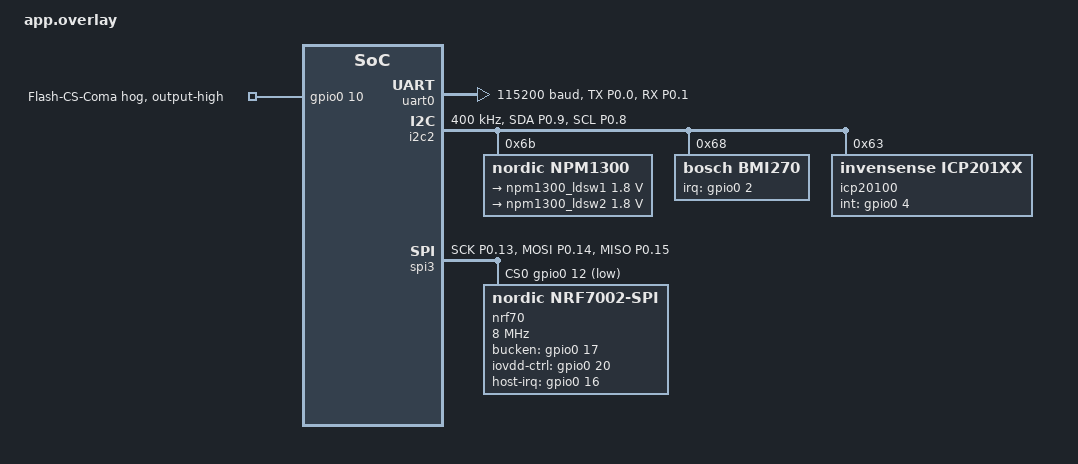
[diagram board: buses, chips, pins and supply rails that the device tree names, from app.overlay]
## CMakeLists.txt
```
# =====================================================================
# Fall inference app -- CMakeLists.txt
#
# Expected project layout (adjust paths below if yours differs):
#   CMakeLists.txt
#   prj.conf
#   app.overlay
#   pm_static.yml           (NOT needed here -- no NVS in this app)
#   edge-impulse-sdk/       (from the downloaded EI C++ library)
#   model-parameters/       (from the downloaded EI C++ library)
#   tflite-model/           (from the downloaded EI C++ library)
#   bmi270_legacy_api/      (your existing Bosch driver folder)
#   src/
#     main.c
#     bmi2_zephyr_platform.c
#     classifier.h
#     classifier.cpp
# =====================================================================
cmake_minimum_required(VERSION 3.20.0)

find_package(Zephyr REQUIRED HINTS $ENV{ZEPHYR_BASE})
project(test_model)

# --- Edge Impulse SDK ------------------------------------------------
# The SDK ships its own Zephyr integration: utils.cmake provides the
# RECURSIVE_FIND_FILE helper, and the cmake/zephyr subdirectory adds
# all SDK sources (DSP, TFLite Micro, Zephyr porting layer) to 'app'.
include(edge-impulse-sdk/cmake/utils.cmake)
add_subdirectory(edge-impulse-sdk/cmake/zephyr)

# --- Include paths ---------------------------------------------------
target_include_directories(app PRIVATE
    .
    src
    model-parameters
    tflite-model
    bmi270_legacy_api
)

# --- Sources ---------------------------------------------------------
# Generated model sources (compiled TFLite model + resolver)
RECURSIVE_FIND_FILE(MODEL_SOURCES tflite-model "*.cpp")

# Bosch BMI270 legacy driver + your I2C/delay port functions
FILE(GLOB BMI_SOURCES bmi270_legacy_api/*.c)

target_sources(app PRIVATE
    src/main.c
    src/classifier.cpp
    src/bmi2_zephyr_platform.c
    ${MODEL_SOURCES}
    ${BMI_SOURCES}
)
```

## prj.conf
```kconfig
# ==========================================================
# Fall inference app -- prj.conf
# (logger config minus modem/NVS, plus C++ for Edge Impulse)
# ==========================================================

# ==========================================================
# CONSOLE & LOGGING
# ==========================================================
CONFIG_SERIAL=y
CONFIG_CONSOLE=y
CONFIG_STDOUT_CONSOLE=y
CONFIG_LOG=y
CONFIG_PRINTK=y
CONFIG_LOG_BUFFER_SIZE=8192
CONFIG_LOG_PROCESS_THREAD_STACK_SIZE=4096
CONFIG_LOG_MODE_IMMEDIATE=y

# ==========================================================
# HARDWARE & PMIC
# ==========================================================
CONFIG_I2C=y
CONFIG_GPIO=y
CONFIG_REGULATOR=y
CONFIG_MFD_NPM13XX=y
CONFIG_REGULATOR_NPM13XX=y
CONFIG_NPM13XX_CHARGER=y

# Custom clock settings (No crystal, use RC)
CONFIG_CLOCK_CONTROL_NRF_K32SRC_XTAL=n
CONFIG_CLOCK_CONTROL_NRF_K32SRC_RC=y
CONFIG_CLOCK_CONTROL_NRF_K32SRC_500PPM=y

# ==========================================================
# EDGE IMPULSE SDK REQUIREMENTS
# The SDK is C++ (TFLite Micro + DSP). NOTE: newlib replaces
# picolibc here, so the old CONFIG_PICOLIBC_IO_FLOAT line is
# gone -- float printf comes from NEWLIB_LIBC_FLOAT_PRINTF.
# ==========================================================
CONFIG_CPP=y
CONFIG_STD_CPP17=y
CONFIG_REQUIRES_FULL_LIBCPP=y
CONFIG_NEWLIB_LIBC=y
CONFIG_NEWLIB_LIBC_FLOAT_PRINTF=y
CONFIG_CBPRINTF_FP_SUPPORT=y
CONFIG_FPU=y

# ==========================================================
# MEMORY
# DSP (FFT) and TFLite Micro need real stack + heap. The model
# arena is statically allocated in the generated sources, but
# the spectral-analysis block mallocs working buffers.
# ==========================================================
CONFIG_MAIN_STACK_SIZE=32768
CONFIG_HEAP_MEM_POOL_SIZE=32768

# Keep fatal errors as halts (readable fault dumps) while testing
CONFIG_RESET_ON_FATAL_ERROR=n
```

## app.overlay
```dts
#include <zephyr/dt-bindings/regulator/npm13xx.h>

/ {
    chosen {
        zephyr,wifi = &nordic_wlan0;
        ncs,location-wifi = &nordic_wlan0;
    };
};

&pinctrl {
    /* --- UART0 --- */
    uart0_default: uart0_default {
        group1 {
            psels = <NRF_PSEL(UART_TX, 0, 0)>,
                    <NRF_PSEL(UART_RX, 0, 1)>;
        };
    };
    uart0_sleep: uart0_sleep {
        group1 {
            psels = <NRF_PSEL(UART_TX, 0, 0)>,
                    <NRF_PSEL(UART_RX, 0, 1)>;
            low-power-enable;
        };
    };

    /* --- I2C2 --- */
    i2c2_default: i2c2_default {
        group1 {
            psels = <NRF_PSEL(TWIM_SDA, 0, 9)>,
                    <NRF_PSEL(TWIM_SCL, 0, 8)>;
        };
    };
    i2c2_sleep: i2c2_sleep {
        group1 {
            psels = <NRF_PSEL(TWIM_SDA, 0, 9)>,
                    <NRF_PSEL(TWIM_SCL, 0, 8)>;
            low-power-enable;
        };
    };

    /* --- SPI3 --- */
    spi3_default: spi3_default {
        group1 {
            psels = <NRF_PSEL(SPIM_SCK, 0, 13)>,
                    <NRF_PSEL(SPIM_MOSI, 0, 14)>,
                    <NRF_PSEL(SPIM_MISO, 0, 15)>;
        };
    };
    spi3_sleep: spi3_sleep {
        group1 {
            psels = <NRF_PSEL(SPIM_SCK, 0, 13)>,
                    <NRF_PSEL(SPIM_MOSI, 0, 14)>,
                    <NRF_PSEL(SPIM_MISO, 0, 15)>;
            low-power-enable;
        };
    };

    /* --- PWM0 --- */
    pwm0_default: pwm0_default {
        group1 {
            psels = <NRF_PSEL(PWM_OUT0, 0, 28)>,
                    <NRF_PSEL(PWM_OUT1, 0, 29)>,
                    <NRF_PSEL(PWM_OUT2, 0, 30)>,
                    <NRF_PSEL(PWM_OUT3, 0, 31)>;
        };
    };
    pwm0_sleep: pwm0_sleep {
        group1 {
            psels = <NRF_PSEL(PWM_OUT0, 0, 28)>,
                    <NRF_PSEL(PWM_OUT1, 0, 29)>,
                    <NRF_PSEL(PWM_OUT2, 0, 30)>,
                    <NRF_PSEL(PWM_OUT3, 0, 31)>;
            low-power-enable;
        };
    };
};

/* Lock Flash CS high so it never contends on the SPI bus */
&gpio0 {
    flash_coma {
        gpio-hog;
        gpios = <10 GPIO_ACTIVE_HIGH>;
        output-high;
        line-name = "Flash-CS-Coma";
    };
};

&uart0 {
    status = "okay";
    current-speed = <115200>;
    pinctrl-0 = <&uart0_default>;
    pinctrl-1 = <&uart0_sleep>;
    pinctrl-names = "default", "sleep";
};

&uart1 {
    status = "disabled";
    /delete-property/ hw-flow-control;
};

&i2c2 {
    status = "okay";
    pinctrl-0 = <&i2c2_default>;
    pinctrl-1 = <&i2c2_sleep>;
    pinctrl-names = "default", "sleep";
    clock-frequency = <I2C_BITRATE_FAST>;
    zephyr,concat-buf-size = <2048>;
    zephyr,flash-buf-max-size = <2048>;

    npm1300: pmic@6b {
        compatible = "nordic,npm1300";
        reg = <0x6b>;
        status = "okay";

        npm1300_regulators: regulators {
            compatible = "nordic,npm1300-regulator";
            status = "okay";
        };

        npm1300_charger: charger {
            compatible = "nordic,npm1300-charger";
            status = "okay";
            vbus-limit-microamp = <500000>;
            term-microvolt = <4200000>;
            current-microamp = <400000>;
            dischg-limit-microamp = <1000000>;
            thermistor-ohms = <10000>;
            thermistor-beta = <3380>;
        };
    };

    /* Bosch BMI270 IMU */
    bmi270: bmi270@68 {
        compatible = "bosch,bmi270";
        reg = <0x68>;
        irq-gpios = <&gpio0 2 GPIO_ACTIVE_HIGH>;
    };

    /* TDK Barometer */
    icp20100: icp20100@63 {
        compatible = "invensense,icp201xx";
        reg = <0x63>;
        int-gpios = <&gpio0 4 GPIO_ACTIVE_HIGH>;
    };

};


&spi3 {
    status = "okay";
    pinctrl-0 = <&spi3_default>;
    pinctrl-1 = <&spi3_sleep>;
    pinctrl-names = "default", "sleep";
    cs-gpios = <&gpio0 12 GPIO_ACTIVE_LOW>;

    nrf70: nrf7002@0 {
        /* THIS IS THE ONLY COMPATIBLE STRING NCS 3.3 ACCEPTS FOR SPI */
        compatible = "nordic,nrf7002-spi";
        status = "okay";
        reg = <0>;
        spi-max-frequency = <DT_FREQ_M(8)>;
        iovdd-power-up-delay-ms = <1>;

        bucken-gpios    = <&gpio0 17 GPIO_ACTIVE_HIGH>;
        iovdd-ctrl-gpios = <&gpio0 20 GPIO_ACTIVE_HIGH>;
        iovdd-regulator = <&npm1300_ldsw1>;
        host-irq-gpios  = <&gpio0 16 GPIO_ACTIVE_HIGH>;

        nordic_wlan0: wlan0 {
            compatible = "nordic,wlan";
            local-mac-address = [F6 CE 36 00 00 01];
        };

        /* TX power properties - REDUCED FOR BATTERY */
        wifi-max-tx-pwr-2g-dsss = <10>;         // Was 21 → Now 10 dBm
        wifi-max-tx-pwr-2g-mcs0 = <8>;          // Was 16 → Now 8 dBm
        wifi-max-tx-pwr-2g-mcs7 = <8>;          // Was 16 → Now 8 dBm
        wifi-max-tx-pwr-5g-low-mcs0 = <6>;      // Was 9 → Now 6 dBm
        wifi-max-tx-pwr-5g-low-mcs7 = <6>;      // Was 9 → Now 6 dBm
        wifi-max-tx-pwr-5g-mid-mcs0 = <8>;      // Was 11 → Now 8 dBm
        wifi-max-tx-pwr-5g-mid-mcs7 = <8>;      // Was 11 → Now 8 dBm
        wifi-max-tx-pwr-5g-high-mcs0 = <10>;    // Was 13 → Now 10 dBm
        wifi-max-tx-pwr-5g-high-mcs7 = <10>;    // Was 13 → Now 10 dBm
    };
};

&npm1300_regulators {
    npm1300_ldsw1: LDO1 {
        status = "okay";
        /* Fixed: Lowered to 1.8V to match nRF9151 GPIO logic levels */
        regulator-min-microvolt = <1800000>;
        regulator-max-microvolt = <1800000>;
        regulator-initial-mode = <NPM13XX_LDSW_MODE_LDSW>;
        active-discharge;
        regulator-boot-on;
        regulator-always-on;
    };

    npm1300_ldsw2: LDO2 {
	/* Set the voltage to 1.8V */
	regulator-min-microvolt = <1800000>;
	regulator-max-microvolt = <1800000>;
	regulator-initial-mode = <NPM13XX_LDSW_MODE_LDSW>;
	active-discharge;
	regulator-boot-on;
	regulator-always-on;
	};
};

&uart2 { status = "disabled"; };
&spi0  { status = "disabled"; };
&spi1  { status = "disabled"; };
&spi2  { status = "disabled"; };
```

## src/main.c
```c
/* =====================================================================
 * Fall Logger -- ON-DEVICE INFERENCE MODE (Edge Impulse)
 *
 * Pipeline:
 *   boot -> sensor init (same as logger) -> BLUE LED = armed
 *   low-g event -> LED off -> capture 3s window (same PAST/FUTURE
 *   FIFO logic as the logger) -> run Edge Impulse classifier:
 *       "fall"      -> RED LED for 5 s
 *       otherwise   -> GREEN LED for 5 s
 *   -> rearm -> BLUE LED again.
 *
 * DATA CONTRACT (must match the training CSVs):
 *   - 150 frames @ 50 Hz, 4 axes per frame, interleaved:
 *       [x0,y0,z0,dp0, x1,y1,z1,dp1, ...]  (600 floats total)
 *   - accel in g, pressure as DELTA-hPa from the FIRST sample of the
 *     window (baseline subtraction re-enabled below -- same as the
 *     "subtract first row" prep done on the training CSVs).
 *   - the CSV timestamp column was only Studio's time axis; it is NOT
 *     a feature and is not fed to the model.
 * ===================================================================== */

#include <zephyr/kernel.h>
#include <zephyr/device.h>
#include <zephyr/drivers/i2c.h>
#include <zephyr/drivers/gpio.h>
#include <zephyr/drivers/regulator.h>
#include <zephyr/logging/log.h>
#include <zephyr/sys/util.h>
#include <stdio.h>
#include <string.h>
#include <math.h>

#include "bmi2_defs.h"
#include "bmi270_legacy.h"
#include "classifier.h"

LOG_MODULE_REGISTER(fall_inference, LOG_LEVEL_INF);

/* =====================================================================
 * HARDWARE CONFIGURATION (identical to the logger)
 * ===================================================================== */
#define BMI270_NODE   DT_NODELABEL(bmi270)
#define ICP20100_NODE DT_NODELABEL(icp20100)
#define LDO2_NODE     DT_NODELABEL(npm1300_ldsw2)

#define BMI270_REG_CMD              0x7E
#define BMI270_CMD_FIFO_FLUSH       0xB0
#define BMI270_REG_FIFO_CONFIG_0    0x48
#define BMI270_REG_FIFO_CONFIG_1    0x49
#define BMI270_REG_FIFO_LENGTH_0    0x24
#define BMI270_REG_FIFO_DATA        0x26

#define ICP20100_REG_MODE_SELECT 0xC0
#define ICP20100_REG_FIFO_FILL   0xC4
#define ICP20100_REG_FIFO_BASE   0xFA
#define ICP20100_REG_DUMMY       0x00
#define ICP20100_FIFO_LEVEL_MASK 0x1F
#define ICP20100_CMD_FIFO_FLUSH  0x80

#define HALF_WINDOW_BYTES   450
#define HALF_WINDOW_SAMPLES 75
#define FULL_WINDOW_SAMPLES (HALF_WINDOW_SAMPLES * 2) /* 150 samples = 3s */
#define MODEL_AXES          4                          /* x, y, z, dp     */

const struct i2c_dt_spec bmi_i2c = I2C_DT_SPEC_GET(BMI270_NODE);
const struct i2c_dt_spec icp_i2c = I2C_DT_SPEC_GET(ICP20100_NODE);
static const struct gpio_dt_spec bmi_int = GPIO_DT_SPEC_GET(BMI270_NODE, irq_gpios);
static struct gpio_callback bmi_int_cb;
K_SEM_DEFINE(bmi_irq_sem, 0, 1);

static const struct gpio_dt_spec led_red   = GPIO_DT_SPEC_GET(DT_NODELABEL(led_red), gpios);
static const struct gpio_dt_spec led_green = GPIO_DT_SPEC_GET(DT_NODELABEL(led_green), gpios);
static const struct gpio_dt_spec led_blue  = GPIO_DT_SPEC_GET(DT_NODELABEL(led_blue), gpios);

static uint8_t bmi_fifo_buffer[HALF_WINDOW_BYTES];
static uint8_t icp_fifo_buffer[16 * 6];

struct sensor_record {
    int64_t timestamp;
    double x, y, z;
    double p_hpa;
    bool press_valid;
};

static struct sensor_record event_payload[FULL_WINDOW_SAMPLES];

/* Interleaved feature buffer for the model (static: 2.4 KB) */
static float ei_features[FULL_WINDOW_SAMPLES * MODEL_AXES];

/* =====================================================================
 * LED HELPERS
 *   Blue  = armed & waiting for a drop
 *   (all off = busy capturing/classifying)
 *   Red   = classified as FALL
 *   Green = classified as not-fall
 * ===================================================================== */
static void led_ready_set(bool on)  { gpio_pin_set_dt(&led_blue,  on ? 1 : 0); }
static void led_fall_set(bool on)   { gpio_pin_set_dt(&led_red,   on ? 1 : 0); }
static void led_nofall_set(bool on) { gpio_pin_set_dt(&led_green, on ? 1 : 0); }

/* =====================================================================
 * BOOT SEQUENCE
 * ===================================================================== */
static int power_up_imu_during_boot(void)
{
    const struct device *const ldo2_dev = DEVICE_DT_GET(LDO2_NODE);
    if (device_is_ready(ldo2_dev)) {
        regulator_enable(ldo2_dev);
    }
    k_sleep(K_MSEC(100));
    return 0;
}
SYS_INIT(power_up_imu_during_boot, POST_KERNEL, 85);

void bmi_isr_handler(const struct device *port, struct gpio_callback *cb, gpio_port_pins_t pins)
{
    k_sem_give(&bmi_irq_sem);
}

BMI2_INTF_RETURN_TYPE bmi2_i2c_read(uint8_t reg_addr, uint8_t *data, uint32_t len, void *intf_ptr);
BMI2_INTF_RETURN_TYPE bmi2_i2c_write(uint8_t reg_addr, const uint8_t *data, uint32_t len, void *intf_ptr);
void bmi2_delay_us(uint32_t period, void *intf_ptr);

/* =====================================================================
 * SENSOR DRIVERS (identical to the logger)
 * ===================================================================== */
static int configure_bmi_fifo(void)
{
    int ret;
    uint8_t fifo_cfg, fifo0;
    i2c_reg_read_byte_dt(&bmi_i2c, BMI270_REG_FIFO_CONFIG_0, &fifo0);
    fifo0 &= ~(1 << 0);
    i2c_reg_write_byte_dt(&bmi_i2c, BMI270_REG_FIFO_CONFIG_0, fifo0);

    ret = i2c_reg_read_byte_dt(&bmi_i2c, BMI270_REG_FIFO_CONFIG_1, &fifo_cfg);
    if (ret) return ret;
    fifo_cfg |= (1 << 6);
    fifo_cfg &= ~(1 << 5);
    fifo_cfg &= ~(1 << 4);
    ret = i2c_reg_write_byte_dt(&bmi_i2c, BMI270_REG_FIFO_CONFIG_1, fifo_cfg);
    if (ret) return ret;

    return i2c_reg_write_byte_dt(&bmi_i2c, BMI270_REG_CMD, BMI270_CMD_FIFO_FLUSH);
}

static uint16_t read_bmi_half_window(struct sensor_record *out_buf,
                                     uint16_t write_offset,
                                     const char *label)
{
    uint8_t len_buf[2];
    int ret = i2c_burst_read_dt(&bmi_i2c, BMI270_REG_FIFO_LENGTH_0, len_buf, 2);
    if (ret) {
        LOG_ERR("[%s] FIFO length read failed: %d", label, ret);
        return 0;
    }

    uint16_t fifo_len = len_buf[0] | ((len_buf[1] & 0x1F) << 8);
    uint16_t total_bytes  = (fifo_len / 6) * 6;

    if (total_bytes == 0) {
        LOG_WRN("[%s] FIFO empty.", label);
        return 0;
    }

    if (total_bytes > HALF_WINDOW_BYTES) {
        uint16_t discard = total_bytes - HALF_WINDOW_BYTES;
        uint8_t trash[64];
        while (discard > 0) {
            uint16_t chunk = (discard > sizeof(trash)) ? sizeof(trash) : discard;
            ret = i2c_burst_read_dt(&bmi_i2c, BMI270_REG_FIFO_DATA, trash, chunk);
            if (ret) return 0;
            discard -= chunk;
        }
    }

    uint16_t keep_bytes = (total_bytes > HALF_WINDOW_BYTES) ? HALF_WINDOW_BYTES : total_bytes;
    ret = i2c_burst_read_dt(&bmi_i2c, BMI270_REG_FIFO_DATA, bmi_fifo_buffer, keep_bytes);
    if (ret) return 0;

    uint16_t sample_count = keep_bytes / 6;

    if ((write_offset + sample_count) > FULL_WINDOW_SAMPLES) {
        sample_count = FULL_WINDOW_SAMPLES - write_offset;
    }

    for (uint16_t i = 0; i < sample_count; i++) {
        int16_t raw_x = (int16_t)((bmi_fifo_buffer[i*6 + 1] << 8) | bmi_fifo_buffer[i*6 + 0]);
        int16_t raw_y = (int16_t)((bmi_fifo_buffer[i*6 + 3] << 8) | bmi_fifo_buffer[i*6 + 2]);
        int16_t raw_z = (int16_t)((bmi_fifo_buffer[i*6 + 5] << 8) | bmi_fifo_buffer[i*6 + 4]);

        out_buf[write_offset + i].x = raw_x / 16384.0;
        out_buf[write_offset + i].y = raw_y / 16384.0;
        out_buf[write_offset + i].z = raw_z / 16384.0;
        out_buf[write_offset + i].timestamp = ((int64_t)(write_offset + i) - HALF_WINDOW_SAMPLES) * 20;
    }

    LOG_INF("[%s] Wrote %d samples (indices %d..%d)",
            label, sample_count, write_offset, write_offset + sample_count - 1);

    return sample_count;
}

static void flush_pressure_fifo(void)
{
    uint8_t current_fill = 0;
    i2c_reg_read_byte_dt(&icp_i2c, ICP20100_REG_FIFO_FILL, &current_fill);
    current_fill |= ICP20100_CMD_FIFO_FLUSH;
    i2c_reg_write_byte_dt(&icp_i2c, ICP20100_REG_FIFO_FILL, current_fill);
}

static uint16_t read_pressure_fifo(float *out_pressure, uint16_t max_samples)
{
    uint8_t fifo_fill_reg = 0;
    int ret = i2c_reg_read_byte_dt(&icp_i2c, ICP20100_REG_FIFO_FILL, &fifo_fill_reg);
    if (ret) return 0;

    uint8_t fifo_count = fifo_fill_reg & ICP20100_FIFO_LEVEL_MASK;
    if (fifo_count == 0) return 0;
    if (fifo_count > max_samples) fifo_count = max_samples;

    uint16_t bytes_to_read = fifo_count * 6;
    ret = i2c_burst_read_dt(&icp_i2c, ICP20100_REG_FIFO_BASE, icp_fifo_buffer, bytes_to_read);
    if (ret) return 0;

    uint8_t dummy;
    i2c_reg_read_byte_dt(&icp_i2c, ICP20100_REG_DUMMY, &dummy);

    for (int i = 0; i < fifo_count; i++) {
        uint8_t *packet = &icp_fifo_buffer[i * 6];
        int32_t data_press = ((int32_t)(packet[2] & 0x0f) << 16) |
                             ((int32_t)packet[1] << 8) |
                             packet[0];

        if (data_press & 0x080000) data_press |= 0xFFF00000;

        out_pressure[i] = ((float)(data_press) * 40.0f / 131072.0f) + 70.0f;
    }
    return fifo_count;
}

/* =====================================================================
 * DATA PROCESSING (identical to logger, EXCEPT baseline subtraction is
 * RE-ENABLED: the model was trained on pressure DELTA from the first
 * row of each CSV, so inference must see the same convention.)
 * ===================================================================== */
static void align_and_pad_pressure(float *past_p, uint16_t past_n, float *future_p, uint16_t future_n)
{
    for (int i = 0; i < FULL_WINDOW_SAMPLES; i++) {
        event_payload[i].press_valid = false;
    }

    int idx = HALF_WINDOW_SAMPLES - 1 - ((past_n - 1) * 2);
    if (idx < 0) idx = 0;
    for (int i = 0; i < past_n; i++) {
        if (idx >= HALF_WINDOW_SAMPLES) break;
        event_payload[idx].p_hpa = past_p[i] * 10.0f;
        event_payload[idx].press_valid = true;
        idx += 2;
    }

    idx = FULL_WINDOW_SAMPLES - 1 - ((future_n - 1) * 2);
    if (idx < HALF_WINDOW_SAMPLES) idx = HALF_WINDOW_SAMPLES;
    for (int i = 0; i < future_n; i++) {
        if (idx >= FULL_WINDOW_SAMPLES) break;
        event_payload[idx].p_hpa = future_p[i] * 10.0f;
        event_payload[idx].press_valid = true;
        idx += 2;
    }

    double last_p = past_n > 0 ? ((double)past_p[0] * 10.0) : 1013.25;
    bool has_p = false;
    for (int i = 0; i < FULL_WINDOW_SAMPLES; i++) {
        if (event_payload[i].press_valid) {
            last_p = event_payload[i].p_hpa;
            has_p = true;
        } else if (has_p) {
            event_payload[i].p_hpa = last_p;
            event_payload[i].press_valid = true;
        }
    }

    for (int i = 0; i < FULL_WINDOW_SAMPLES; i++) {
        if (event_payload[i].press_valid) {
            last_p = event_payload[i].p_hpa;
            break;
        }
    }
    for (int i = 0; i < FULL_WINDOW_SAMPLES; i++) {
        if (!event_payload[i].press_valid) {
            event_payload[i].p_hpa = last_p;
            event_payload[i].press_valid = true;
        } else {
            break;
        }
    }

    /* RE-ENABLED: delta pressure, matching the training CSV prep */
    double baseline_p = event_payload[0].p_hpa;
    for (int i = 0; i < FULL_WINDOW_SAMPLES; i++) {
        event_payload[i].p_hpa = event_payload[i].p_hpa - baseline_p;
    }
}

/* =====================================================================
 * INFERENCE
 * ===================================================================== */
static void classify_event(void)
{
    /* Interleave features exactly as the model was trained:
     * frame-major, axis order acc_x, acc_y, acc_z, pressure_delta */
    for (int i = 0; i < FULL_WINDOW_SAMPLES; i++) {
        ei_features[i * MODEL_AXES + 0] = (float)event_payload[i].x;
        ei_features[i * MODEL_AXES + 1] = (float)event_payload[i].y;
        ei_features[i * MODEL_AXES + 2] = (float)event_payload[i].z;
        ei_features[i * MODEL_AXES + 3] = (float)event_payload[i].p_hpa;
    }

    char label[32] = {0};
    float score = 0.0f, anomaly = 0.0f;

    int rc = fall_classifier_run(ei_features, ARRAY_SIZE(ei_features),
                                 label, sizeof(label), &score, &anomaly);
    if (rc != 0) {
        LOG_ERR("Classifier failed: %d -- no verdict.", rc);
        return;
    }

    bool is_fall = (strcmp(label, "fall") == 0);

    LOG_INF("=== VERDICT: %s (%.0f%%, anomaly %.2f) -> %s ===",
            label, (double)(score * 100.0f), (double)anomaly,
            is_fall ? "FALL!" : "no fall");

    /* Show the verdict for 5 seconds */
    if (is_fall) {
        led_fall_set(true);
    } else {
        led_nofall_set(true);
    }
    k_sleep(K_MSEC(5000));
    led_fall_set(false);
    led_nofall_set(false);
}

/* =====================================================================
 * LOW-G EVENT HANDLER (capture identical to logger; classify at end)
 * ===================================================================== */
static void handle_low_g_event(struct bmi2_dev *dev)
{
    uint16_t int_status = 0;
    float past_p[16], future_p[16];

    int8_t rslt = bmi2_get_int_status(&int_status, dev);
    if (rslt != BMI2_OK || !(int_status & BMI270_LEGACY_LOW_G_STATUS_MASK)) {
        return;
    }

    gpio_pin_interrupt_configure_dt(&bmi_int, GPIO_INT_DISABLE);
    led_ready_set(false);   /* LED off = busy */

    memset(event_payload, 0, sizeof(event_payload));
    int64_t session_id = k_uptime_get();
    LOG_INF("=== LOW-G TRIGGERED (Session: %lld) ===", session_id);

    uint16_t past_acc_n   = read_bmi_half_window(event_payload, 0, "PAST");
    uint16_t past_press_n = read_pressure_fifo(past_p, 16);

    i2c_reg_write_byte_dt(&bmi_i2c, BMI270_REG_CMD, BMI270_CMD_FIFO_FLUSH);
    flush_pressure_fifo();

    k_sleep(K_MSEC(1650));

    uint16_t future_acc_n = read_bmi_half_window(event_payload, HALF_WINDOW_SAMPLES, "FUTURE");

    bmi2_set_adv_power_save(BMI2_DISABLE, dev);

    uint16_t future_press_n = read_pressure_fifo(future_p, 16);

    LOG_INF("Captured: past_acc=%d/75 future_acc=%d/75 past_p=%d future_p=%d",
            past_acc_n, future_acc_n, past_press_n, future_press_n);

    if ((past_acc_n + future_acc_n) == FULL_WINDOW_SAMPLES) {
        align_and_pad_pressure(past_p, past_press_n, future_p, future_press_n);
        classify_event();
    } else {
        LOG_WRN("FIFO read short: past=%d future=%d, discarding event.",
                past_acc_n, future_acc_n);
    }

    /* Clean state before rearming */
    i2c_reg_write_byte_dt(&bmi_i2c, BMI270_REG_CMD, BMI270_CMD_FIFO_FLUSH);
    flush_pressure_fifo();

    LOG_INF("Refilling FIFOs (1.6s)...");
    k_sleep(K_MSEC(1600));

    /* Latched-INT-safe rearm (see logger for full rationale) */
    for (int i = 0; i < 5; i++) {
        bmi2_get_int_status(&int_status, dev);
        if (gpio_pin_get_dt(&bmi_int) == 0) {
            break;
        }
        k_sleep(K_MSEC(10));
    }
    k_sem_reset(&bmi_irq_sem);
    gpio_pin_interrupt_configure_dt(&bmi_int, GPIO_INT_EDGE_TO_ACTIVE);
    if (gpio_pin_get_dt(&bmi_int) > 0) {
        LOG_WRN("INT already latched at rearm -- forcing handler run.");
        k_sem_give(&bmi_irq_sem);
    }

    led_ready_set(true);
    LOG_INF(">>> Ready for next event. <<<");
}

/* =====================================================================
 * MAIN
 * ===================================================================== */
int main(void)
{
    int8_t rslt;
    struct bmi2_dev dev = { 0 };

    LOG_INF("==========================================================");
    LOG_INF(" Fall Logger: ON-DEVICE INFERENCE MODE (Edge Impulse) ");
    LOG_INF("==========================================================");
    LOG_INF(" Blue = armed | Red = FALL | Green = no fall");

    /* Verify firmware buffer matches the deployed model BEFORE arming */
    LOG_INF("Model expects: %u frames x %u axes = %u features",
            (unsigned)fall_classifier_frame_count(),
            (unsigned)fall_classifier_axes_per_frame(),
            (unsigned)fall_classifier_input_size());
    if (fall_classifier_input_size() != ARRAY_SIZE(ei_features)) {
        LOG_ERR("MODEL/FIRMWARE MISMATCH: firmware provides %u features. "
                "Check window size (3000 ms), frequency (50 Hz) and axis "
                "count in Studio, then redeploy.",
                (unsigned)ARRAY_SIZE(ei_features));
        return 0;
    }

    if (!i2c_is_ready_dt(&bmi_i2c) || !i2c_is_ready_dt(&icp_i2c)) {
        LOG_ERR("I2C bus not ready"); return 0;
    }

    if (gpio_is_ready_dt(&led_red) && gpio_is_ready_dt(&led_green) && gpio_is_ready_dt(&led_blue)) {
        gpio_pin_configure_dt(&led_red,   GPIO_OUTPUT_INACTIVE);
        gpio_pin_configure_dt(&led_green, GPIO_OUTPUT_INACTIVE);
        gpio_pin_configure_dt(&led_blue,  GPIO_OUTPUT_INACTIVE);
    } else {
        LOG_ERR("LED GPIOs not ready");
    }

    LOG_INF("Waiting 5s for power rails to stabilize...");
    k_sleep(K_MSEC(5000));

    /* --- ICP-20100 INIT (with warm-up discard) --- */
    LOG_INF("[INIT] Configuring ICP-20100 (25Hz Continuous)...");
    i2c_reg_write_byte_dt(&icp_i2c, ICP20100_REG_MODE_SELECT, 0x08);
    LOG_INF("[INIT] ICP-20100 warm-up (1.2s)...");
    k_sleep(K_MSEC(1200));
    flush_pressure_fifo();

    /* --- BMI270 INIT --- */
    dev.intf = BMI2_I2C_INTF;
    dev.read = bmi2_i2c_read;
    dev.write = bmi2_i2c_write;
    dev.delay_us = bmi2_delay_us;
    dev.intf_ptr = NULL;
    dev.read_write_len = 32;

    rslt = bmi270_legacy_init(&dev);
    if (rslt != BMI2_OK) return 0;

    bmi2_set_adv_power_save(BMI2_DISABLE, &dev);
    k_msleep(5);

    struct bmi2_int_pin_config int_pin_cfg = { 0 };
    int_pin_cfg.pin_type = BMI2_INT1;
    int_pin_cfg.int_latch = BMI2_INT_LATCH;
    int_pin_cfg.pin_cfg[0].lvl = BMI2_INT_ACTIVE_HIGH;
    int_pin_cfg.pin_cfg[0].od  = BMI2_INT_PUSH_PULL;
    int_pin_cfg.pin_cfg[0].output_en = BMI2_INT_OUTPUT_ENABLE;
    int_pin_cfg.pin_cfg[0].input_en  = BMI2_INT_INPUT_DISABLE;
    bmi2_set_int_pin_config(&int_pin_cfg, &dev);

    gpio_pin_configure_dt(&bmi_int, GPIO_INPUT);
    gpio_pin_interrupt_configure_dt(&bmi_int, GPIO_INT_EDGE_TO_ACTIVE);
    gpio_init_callback(&bmi_int_cb, bmi_isr_handler, BIT(bmi_int.pin));
    gpio_add_callback(bmi_int.port, &bmi_int_cb);

    uint8_t sens_list[2] = { BMI2_ACCEL, BMI2_LOW_G };
    bmi270_legacy_sensor_enable(sens_list, 2, &dev);

    struct bmi2_sens_config accel_cfg = { .type = BMI2_ACCEL };
    bmi270_legacy_get_sensor_config(&accel_cfg, 1, &dev);
    accel_cfg.cfg.acc.odr         = BMI2_ACC_ODR_50HZ;
    accel_cfg.cfg.acc.range       = BMI2_ACC_RANGE_2G;
    accel_cfg.cfg.acc.bwp         = BMI2_ACC_NORMAL_AVG4;
    accel_cfg.cfg.acc.filter_perf = BMI2_PERF_OPT_MODE;
    bmi270_legacy_set_sensor_config(&accel_cfg, 1, &dev);

    struct bmi2_sens_config low_g_cfg = { .type = BMI2_LOW_G };
    bmi270_legacy_get_sensor_config(&low_g_cfg, 1, &dev);
    low_g_cfg.cfg.low_g.threshold  = 0x0300;
    low_g_cfg.cfg.low_g.hysteresis = 0x0100;
    low_g_cfg.cfg.low_g.duration   = 0x0002;
    bmi270_legacy_set_sensor_config(&low_g_cfg, 1, &dev);

    struct bmi2_sens_int_config low_g_int = {
        .type = BMI2_LOW_G, .hw_int_pin = BMI2_INT1
    };
    bmi270_legacy_map_feat_int(&low_g_int, 1, &dev);

    LOG_INF("[INIT] Configuring BMI FIFO...");
    configure_bmi_fifo();

    /* Let FIFOs fill before accepting interrupts */
    k_sleep(K_MSEC(1600));

    /* Latched-INT-safe boot arming */
    {
        uint16_t boot_int_status = 0;

        for (int i = 0; i < 5; i++) {
            bmi2_get_int_status(&boot_int_status, &dev);
            if (gpio_pin_get_dt(&bmi_int) == 0) {
                break;
            }
            k_sleep(K_MSEC(10));
        }
        k_sem_reset(&bmi_irq_sem);
        if (gpio_pin_get_dt(&bmi_int) > 0) {
            LOG_WRN("INT latched at boot arm -- forcing handler run.");
            k_sem_give(&bmi_irq_sem);
        }
    }

    led_ready_set(true);   /* Blue LED = armed */
    LOG_INF(">>> READY. Inference active. Waiting for drops. <<<");

    while (1) {
        if (k_sem_take(&bmi_irq_sem, K_MSEC(600)) == 0) {
            handle_low_g_event(&dev);
        } else {
            /* Idle housekeeping: keep the 16-deep pressure FIFO fresh
             * (it stops accepting data when full -- see logger). */
            flush_pressure_fifo();
        }
    }

    return 0;
}
```

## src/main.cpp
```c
#include <zephyr/kernel.h>
#include <zephyr/device.h>
#include <zephyr/drivers/sensor.h>
#include <zephyr/drivers/regulator.h>
#include <stdio.h>
#include <string.h>

/* Edge Impulse TinyML SDK */
#include "edge-impulse-sdk/classifier/ei_run_classifier.h"

#define BMI270_NODE DT_NODELABEL(bmi270)
#define ICP20100_NODE DT_NODELABEL(icp20100)
#define LDO2_NODE DT_NODELABEL(npm1300_ldo2)

/* =====================================================================
 * EDGE IMPULSE BUFFER & CALLBACKS
 * ===================================================================== */
// This buffer holds exactly one window of data (e.g., 2 seconds of 4 axes at 50Hz)
static float feature_buffer[EI_CLASSIFIER_DSP_INPUT_FRAME_SIZE];

// The SDK calls this function behind the scenes to grab data for inference
int raw_feature_get_data(size_t offset, size_t length, float *out_ptr) {
    memcpy(out_ptr, feature_buffer + offset, length * sizeof(float));
    return 0;
}

/* =====================================================================
 * THE PRE-MAIN BOOT SEQUENCE (Priority 85)
 * ===================================================================== */
extern "C" static int power_up_imu_during_boot(void) {
    const struct device *const ldo2_dev = DEVICE_DT_GET(LDO2_NODE);
    if (device_is_ready(ldo2_dev)) {
        regulator_enable(ldo2_dev);
    }
    k_sleep(K_MSEC(100)); // Allow BMI270 ASIC to boot
    return 0;
}
SYS_INIT(power_up_imu_during_boot, POST_KERNEL, 85);

/* =====================================================================
 * MAIN APPLICATION
 * ===================================================================== */
int main(void) {
    const struct device *const bmi_dev = DEVICE_DT_GET(BMI270_NODE);
    const struct device *const icp_dev = DEVICE_DT_GET(ICP20100_NODE);

    struct sensor_value acc[3];
    struct sensor_value pressure;

    printf("\n*** Starting TinyML Fall Detection ***\n");

    if (!device_is_ready(bmi_dev) || !device_is_ready(icp_dev)) {
        printf("ERROR: Sensors failed to initialize.\n");
        return 0;
    }

    /* Configure BMI270 */
    struct sensor_value full_scale = { .val1 = 2, .val2 = 0 };
    struct sensor_value oversampling = { .val1 = 1, .val2 = 0 };
    struct sensor_value sampling_freq = { .val1 = 100, .val2 = 0 };

    sensor_attr_set(bmi_dev, SENSOR_CHAN_ACCEL_XYZ, SENSOR_ATTR_FULL_SCALE, &full_scale);
    sensor_attr_set(bmi_dev, SENSOR_CHAN_ACCEL_XYZ, SENSOR_ATTR_OVERSAMPLING, &oversampling);
    sensor_attr_set(bmi_dev, SENSOR_CHAN_ACCEL_XYZ, SENSOR_ATTR_SAMPLING_FREQUENCY, &sampling_freq);

    int feature_ix = 0;

    /* Continuous 50Hz Polling & Inference Loop */
    while (1) {
        int64_t loop_start = k_uptime_get();

        if (sensor_sample_fetch(bmi_dev) == 0 && sensor_sample_fetch(icp_dev) == 0) {
            sensor_channel_get(bmi_dev, SENSOR_CHAN_ACCEL_XYZ, acc);
            sensor_channel_get(icp_dev, SENSOR_CHAN_PRESS, &pressure);

            // Important: Order MUST match the CSV header order (X, Y, Z, Pressure)
            feature_buffer[feature_ix++] = sensor_value_to_double(&acc[0]);
            feature_buffer[feature_ix++] = sensor_value_to_double(&acc[1]);
            feature_buffer[feature_ix++] = sensor_value_to_double(&acc[2]);
            feature_buffer[feature_ix++] = sensor_value_to_double(&pressure) * 10.0; // Convert to hPa
        }

        /* Once the buffer hits 100% capacity, run the AI model */
        if (feature_ix >= EI_CLASSIFIER_DSP_INPUT_FRAME_SIZE) {
            
            signal_t signal;
            signal.total_length = EI_CLASSIFIER_DSP_INPUT_FRAME_SIZE;
            signal.get_data = &raw_feature_get_data;

            ei_impulse_result_t result = { 0 };
            
            // run_classifier executes the DSP block and the Neural Network
            EI_IMPULSE_ERROR res = run_classifier(&signal, &result, false);
            
            if (res == EI_IMPULSE_OK) {
                bool fall_detected = false;

                // Loop through the output classes to find "falling"
                for (size_t ix = 0; ix < EI_CLASSIFIER_LABEL_COUNT; ix++) {
                    if (strcmp(result.classification[ix].label, "falling") == 0) {
                        // If the AI is over 80% confident it's a fall
                        if (result.classification[ix].value > 0.80f) {
                            fall_detected = true;
                        }
                    }
                }

                if (fall_detected) {
                    printf("\n========================================\n");
                    printf(" [ALERT] FALL DETECTED! INITIATING SOS \n");
                    printf("========================================\n\n");
                    
                    // Sleep for 10 seconds to handle the emergency
                    k_sleep(K_SECONDS(10));
                    
                    // Reset the buffer entirely after a fall
                    feature_ix = 0; 
                } else {
                    // No fall? Slide the window by 50% so we overlap our next check
                    int half_buffer_size = EI_CLASSIFIER_DSP_INPUT_FRAME_SIZE / 2;
                    memmove(feature_buffer, feature_buffer + half_buffer_size, half_buffer_size * sizeof(float));
                    feature_ix = half_buffer_size;
                }
            }
        }

        /* Sleep dynamically to strictly maintain the 20ms (50Hz) loop interval */
        int64_t time_taken = k_uptime_get() - loop_start;
        if (time_taken < 20) {
            k_sleep(K_MSEC(20 - time_taken));
        }
    }
    
    return 0;
}
```

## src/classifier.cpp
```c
/* classifier.cpp -- the only C++ file in the project.
 * Wraps Edge Impulse's run_classifier() behind a C API for main.c. */

#include "edge-impulse-sdk/classifier/ei_run_classifier.h"
#include <zephyr/sys/printk.h>
#include <string.h>

#include "classifier.h"

extern "C" size_t fall_classifier_input_size(void)
{
    return EI_CLASSIFIER_DSP_INPUT_FRAME_SIZE;
}

extern "C" size_t fall_classifier_frame_count(void)
{
    return EI_CLASSIFIER_RAW_SAMPLE_COUNT;
}

extern "C" size_t fall_classifier_axes_per_frame(void)
{
    return EI_CLASSIFIER_RAW_SAMPLES_PER_FRAME;
}

extern "C" int fall_classifier_run(const float *features, size_t count,
                                   char *best_label, size_t label_size,
                                   float *best_score, float *anomaly_score)
{
    if (count != EI_CLASSIFIER_DSP_INPUT_FRAME_SIZE) {
        printk("[EI] Feature count mismatch: got %u, model expects %u\n",
               (unsigned)count, (unsigned)EI_CLASSIFIER_DSP_INPUT_FRAME_SIZE);
        return -1;
    }

    signal_t signal;
    int err = numpy::signal_from_buffer(features, count, &signal);
    if (err != 0) {
        printk("[EI] signal_from_buffer failed: %d\n", err);
        return -2;
    }

    ei_impulse_result_t result = { 0 };
    EI_IMPULSE_ERROR rc = run_classifier(&signal, &result, false);
    if (rc != EI_IMPULSE_OK) {
        printk("[EI] run_classifier failed: %d\n", (int)rc);
        return -3;
    }

    printk("[EI] DSP %d ms, NN %d ms\n",
           result.timing.dsp, result.timing.classification);

    size_t best = 0;
    for (size_t i = 0; i < EI_CLASSIFIER_LABEL_COUNT; i++) {
        printk("[EI]   %-10s: %.3f\n",
               result.classification[i].label,
               (double)result.classification[i].value);
        if (result.classification[i].value >
            result.classification[best].value) {
            best = i;
        }
    }

    strncpy(best_label, result.classification[best].label, label_size - 1);
    best_label[label_size - 1] = '\0';
    *best_score = result.classification[best].value;

#if EI_CLASSIFIER_HAS_ANOMALY == 1
    *anomaly_score = result.anomaly;
    printk("[EI]   anomaly   : %.3f\n", (double)result.anomaly);
#else
    *anomaly_score = 0.0f;
#endif

    return 0;
}
```

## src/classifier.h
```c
/* classifier.h -- C interface to the C++ Edge Impulse classifier.
 * Keeps all C++ contained in classifier.cpp so main.c stays plain C. */
#ifndef CLASSIFIER_H
#define CLASSIFIER_H

#include <stddef.h>

#ifdef __cplusplus
extern "C" {
#endif

/* Model geometry, read from the generated model-parameters headers.
 * Use these to sanity-check the firmware buffer against the model. */
size_t fall_classifier_input_size(void);        /* total floats expected  */
size_t fall_classifier_frame_count(void);       /* samples per window     */
size_t fall_classifier_axes_per_frame(void);    /* values per sample      */

/* Run inference on an interleaved feature buffer:
 *   [x0,y0,z0,dp0, x1,y1,z1,dp1, ...]  (frame-major, model axis order)
 *
 * On success returns 0 and fills:
 *   best_label    - name of the winning class (null-terminated)
 *   best_score    - its probability 0..1
 *   anomaly_score - K-means anomaly score (0 if no anomaly block)
 * All per-class scores are also printed to the console.
 * Returns negative on error (wrong count / Edge Impulse error code). */
int fall_classifier_run(const float *features, size_t count,
                        char *best_label, size_t label_size,
                        float *best_score, float *anomaly_score);

#ifdef __cplusplus
}
#endif

#endif /* CLASSIFIER_H */
```
